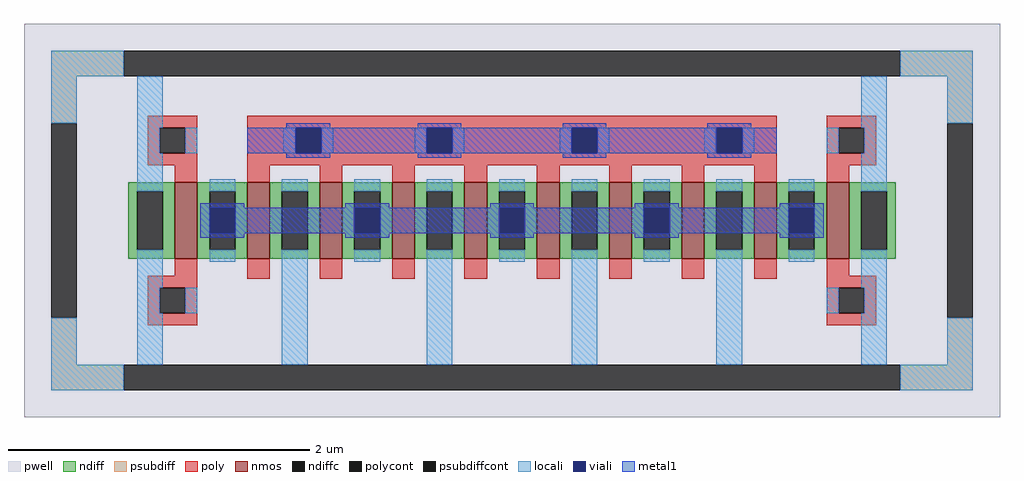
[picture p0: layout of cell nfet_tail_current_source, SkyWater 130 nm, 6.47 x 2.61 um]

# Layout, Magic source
magic
tech sky130A
magscale 1 2
<< pwell >>
rect -646 260 647 261
rect -647 -261 647 260
<< nmos >>
rect -447 -51 -417 51
rect -351 -51 -321 51
rect -255 -51 -225 51
rect -159 -51 -129 51
rect -63 -51 -33 51
rect 33 -51 63 51
rect 129 -51 159 51
rect 225 -51 255 51
rect 321 -51 351 51
rect 417 -51 447 51
<< ndiff >>
rect -509 39 -447 51
rect -509 -39 -497 39
rect -463 -39 -447 39
rect -509 -51 -447 -39
rect -417 39 -351 51
rect -417 -39 -401 39
rect -367 -39 -351 39
rect -417 -51 -351 -39
rect -321 39 -255 51
rect -321 -39 -305 39
rect -271 -39 -255 39
rect -321 -51 -255 -39
rect -225 39 -159 51
rect -225 -39 -209 39
rect -175 -39 -159 39
rect -225 -51 -159 -39
rect -129 39 -63 51
rect -129 -39 -113 39
rect -79 -39 -63 39
rect -129 -51 -63 -39
rect -33 39 33 51
rect -33 -39 -17 39
rect 17 -39 33 39
rect -33 -51 33 -39
rect 63 39 129 51
rect 63 -39 79 39
rect 113 -39 129 39
rect 63 -51 129 -39
rect 159 39 225 51
rect 159 -39 175 39
rect 209 -39 225 39
rect 159 -51 225 -39
rect 255 39 321 51
rect 255 -39 271 39
rect 305 -39 321 39
rect 255 -51 321 -39
rect 351 39 417 51
rect 351 -39 367 39
rect 401 -39 417 39
rect 351 -51 417 -39
rect 447 39 509 51
rect 447 -39 463 39
rect 497 -39 509 39
rect 447 -51 509 -39
<< ndiffc >>
rect -497 -39 -463 39
rect -401 -39 -367 39
rect -305 -39 -271 39
rect -209 -39 -175 39
rect -113 -39 -79 39
rect -17 -39 17 39
rect 79 -39 113 39
rect 175 -39 209 39
rect 271 -39 305 39
rect 367 -39 401 39
rect 463 -39 497 39
<< psubdiff >>
rect -611 191 -515 225
rect 515 191 611 225
rect -611 129 -577 191
rect 577 129 611 191
rect -611 -191 -577 -129
rect 577 -191 611 -129
rect -611 -225 -515 -191
rect 515 -225 611 -191
<< psubdiffcont >>
rect -515 191 515 225
rect -611 -129 -577 129
rect 577 -129 611 129
rect -515 -225 515 -191
<< poly >>
rect -483 123 -417 139
rect -483 89 -467 123
rect -433 89 -417 123
rect -483 73 -417 89
rect -447 51 -417 73
rect -351 123 351 139
rect -351 89 -287 123
rect -253 89 -113 123
rect -79 89 79 123
rect 113 89 271 123
rect 305 89 351 123
rect -351 73 351 89
rect -351 51 -321 73
rect -255 51 -225 73
rect -159 51 -129 73
rect -63 51 -33 73
rect 33 51 63 73
rect 129 51 159 73
rect 225 51 255 73
rect 321 51 351 73
rect 417 123 483 139
rect 417 89 433 123
rect 467 89 483 123
rect 417 73 483 89
rect 417 51 447 73
rect -447 -73 -417 -51
rect -483 -89 -417 -73
rect -351 -77 -321 -51
rect -255 -77 -225 -51
rect -159 -77 -129 -51
rect -63 -77 -33 -51
rect 33 -77 63 -51
rect 129 -77 159 -51
rect 225 -77 255 -51
rect 321 -77 351 -51
rect 417 -73 447 -51
rect -483 -123 -467 -89
rect -433 -123 -417 -89
rect -483 -139 -417 -123
rect 417 -89 483 -73
rect 417 -123 433 -89
rect 467 -123 483 -89
rect 417 -139 483 -123
<< polycont >>
rect -467 89 -433 123
rect -287 89 -253 123
rect -113 89 -79 123
rect 79 89 113 123
rect 271 89 305 123
rect 433 89 467 123
rect -467 -123 -433 -89
rect 433 -123 467 -89
<< locali >>
rect -611 191 -515 225
rect 515 191 611 225
rect -611 129 -577 191
rect -611 -191 -577 -129
rect -497 123 -463 191
rect 463 123 497 191
rect -497 89 -467 123
rect -433 89 -417 123
rect -303 89 -287 123
rect -253 89 -237 123
rect -129 89 -113 123
rect -79 89 -63 123
rect 63 89 79 123
rect 113 89 129 123
rect 255 89 271 123
rect 305 89 321 123
rect 417 89 433 123
rect 467 89 497 123
rect -497 39 -463 89
rect -497 -89 -463 -39
rect -401 39 -367 55
rect -401 -55 -367 -39
rect -305 39 -271 55
rect -497 -123 -467 -89
rect -433 -123 -417 -89
rect -497 -191 -463 -123
rect -305 -191 -271 -39
rect -209 39 -175 55
rect -209 -55 -175 -39
rect -113 39 -79 55
rect -113 -191 -79 -39
rect -17 39 17 55
rect -17 -55 17 -39
rect 79 39 113 55
rect 79 -191 113 -39
rect 175 39 209 55
rect 175 -55 209 -39
rect 271 39 305 55
rect 271 -191 305 -39
rect 367 39 401 55
rect 367 -55 401 -39
rect 463 39 497 89
rect 463 -89 497 -39
rect 417 -123 433 -89
rect 467 -123 497 -89
rect 463 -191 497 -123
rect 577 129 611 191
rect 577 -191 611 -129
rect -611 -225 -515 -191
rect 515 -225 611 -191
<< viali >>
rect -287 89 -253 123
rect -113 89 -79 123
rect 79 89 113 123
rect 271 89 305 123
rect -401 -17 -367 17
rect -209 -17 -175 17
rect -17 -17 17 17
rect 175 -17 209 17
rect 367 -17 401 17
<< metal1 >>
rect -299 123 -241 129
rect -125 123 -67 129
rect 67 123 125 129
rect 259 123 317 129
rect -351 89 -287 123
rect -253 89 -113 123
rect -79 89 79 123
rect 113 89 271 123
rect 305 89 351 123
rect -299 83 -241 89
rect -125 83 -67 89
rect 67 83 125 89
rect 259 83 317 89
rect -413 17 -355 23
rect -221 17 -163 23
rect -29 17 29 23
rect 163 17 221 23
rect 355 17 413 23
rect -413 -17 -401 17
rect -367 -17 -209 17
rect -175 -17 -17 17
rect 17 -17 175 17
rect 209 -17 367 17
rect 401 -17 413 17
rect -413 -23 -355 -17
rect -221 -23 -163 -17
rect -29 -23 29 -17
rect 163 -23 221 -17
rect 355 -23 413 -17
<< properties >>
string FIXED_BBOX -594 -206 594 206
string gencell sky130_fd_pr__nfet_01v8
string library sky130
string parameters w 0.5 l 0.150 m 1 nf 10 diffcov 100 polycov 100 guard 1 glc 1 grc 1 gtc 1 gbc 1 tbcov 100 rlcov 100 topc 1 botc 1 poverlap 0 doverlap 1 lmin 0.15 wmin 0.42 compatible {sky130_fd_pr__nfet_01v8 sky130_fd_pr__nfet_01v8_lvt  sky130_fd_bs_flash__special_sonosfet_star  sky130_fd_pr__nfet_g5v0d10v5 sky130_fd_pr__nfet_05v0_nvt  sky130_fd_pr__nfet_03v3_nvt} full_metal 1 viasrc 100 viadrn 100 viagate 100 viagb 0 viagr 0 viagl 0 viagt 0
<< end >>
